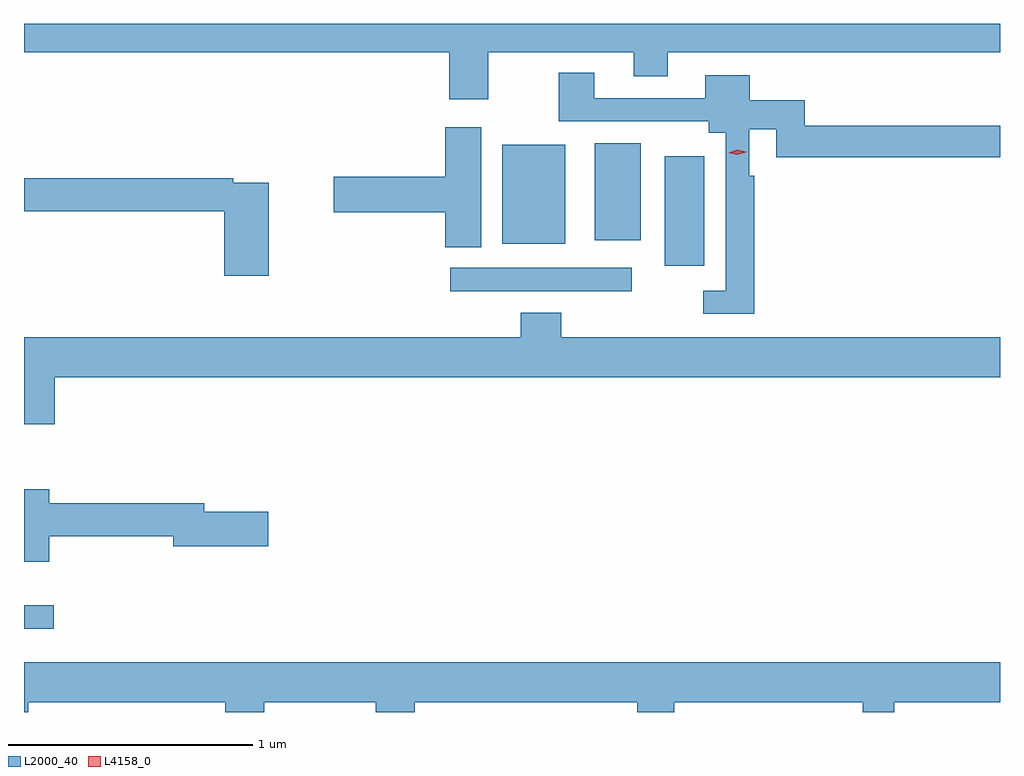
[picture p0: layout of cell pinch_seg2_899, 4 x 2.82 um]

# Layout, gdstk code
import gdstk
lib = gdstk.Library(unit=1e-6, precision=1e-09)
def R(c, l, rs):  # rectangles x0, y0, x1, y1
    for r in rs: c.add(gdstk.rectangle(r[:2], r[2:], *l))
def P(c, l, *ps):  # polygons
    for p in ps: c.add(gdstk.Polygon(p, *l))
L2000_40 = (2000, 40)
L4158_0 = (4158, 0)

pinch_seg2_899 = lib.new_cell('pinch_seg2_899')
R(pinch_seg2_899, L2000_40, [(456.663,663.92,456.784,664.017), (458.409,665.304,459.154,665.4), (459.29,665.409,459.451,665.857), (458.624,665.498,458.881,665.905), (459.002,665.513,459.19,665.911)])
P(pinch_seg2_899, L2000_40, [(456.663,666.284),(458.405,666.284),(458.405,666.09),(458.565,666.09),(458.565,666.284),(459.161,666.284),(459.161,666.185),(459.301,666.185),(459.301,666.284),(460.663,666.284),(460.663,666.4),(456.663,666.4)],
  [(459.656,665.777),(459.636,665.777),(459.636,665.968),(459.747,665.968),(459.747,665.854),(460.663,665.854),(460.663,665.983),(459.863,665.983),(459.863,666.086),(459.637,666.086),(459.637,666.19),(459.455,666.19),(459.455,666.096),(459.001,666.096),(459.001,666.199),(458.854,666.199),(458.854,666),(459.47,666),(459.47,665.954),(459.54,665.954),(459.54,665.307),(459.447,665.307),(459.447,665.211),(459.656,665.211)],
  [(458.536,665.977),(458.39,665.977),(458.39,665.774),(457.932,665.774),(457.932,665.627),(458.39,665.627),(458.39,665.485),(458.536,665.485)],
  [(457.667,665.748),(457.52,665.748),(457.52,665.768),(456.663,665.768),(456.663,665.632),(457.484,665.632),(457.484,665.367),(457.667,665.367)],
  [(456.788,664.952),(460.663,664.952),(460.663,665.116),(458.864,665.116),(458.864,665.215),(458.699,665.215),(458.699,665.116),(456.663,665.116),(456.663,664.758),(456.788,664.758)],
  [(456.766,664.3),(457.274,664.3),(457.274,664.258),(457.663,664.258),(457.663,664.4),(457.402,664.4),(457.402,664.436),(456.766,664.436),(456.766,664.492),(456.663,664.492),(456.663,664.196),(456.766,664.196)],
  [(456.663,663.579),(456.68,663.579),(456.68,663.62),(457.487,663.62),(457.487,663.579),(457.647,663.579),(457.647,663.62),(458.104,663.62),(458.104,663.579),(458.264,663.579),(458.264,663.62),(459.176,663.62),(459.176,663.579),(459.328,663.579),(459.328,663.62),(460.1,663.62),(460.1,663.579),(460.229,663.579),(460.229,663.62),(460.663,663.62),(460.663,663.784),(456.663,663.784)])
P(pinch_seg2_899, L4158_0, [(459.587,665.863),(459.552,665.872),(459.552,665.872),(459.552,665.872),(459.587,665.883),(459.622,665.875),(459.622,665.874),(459.622,665.874)])

lib.write_gds('pinch_seg2_899.gds')
